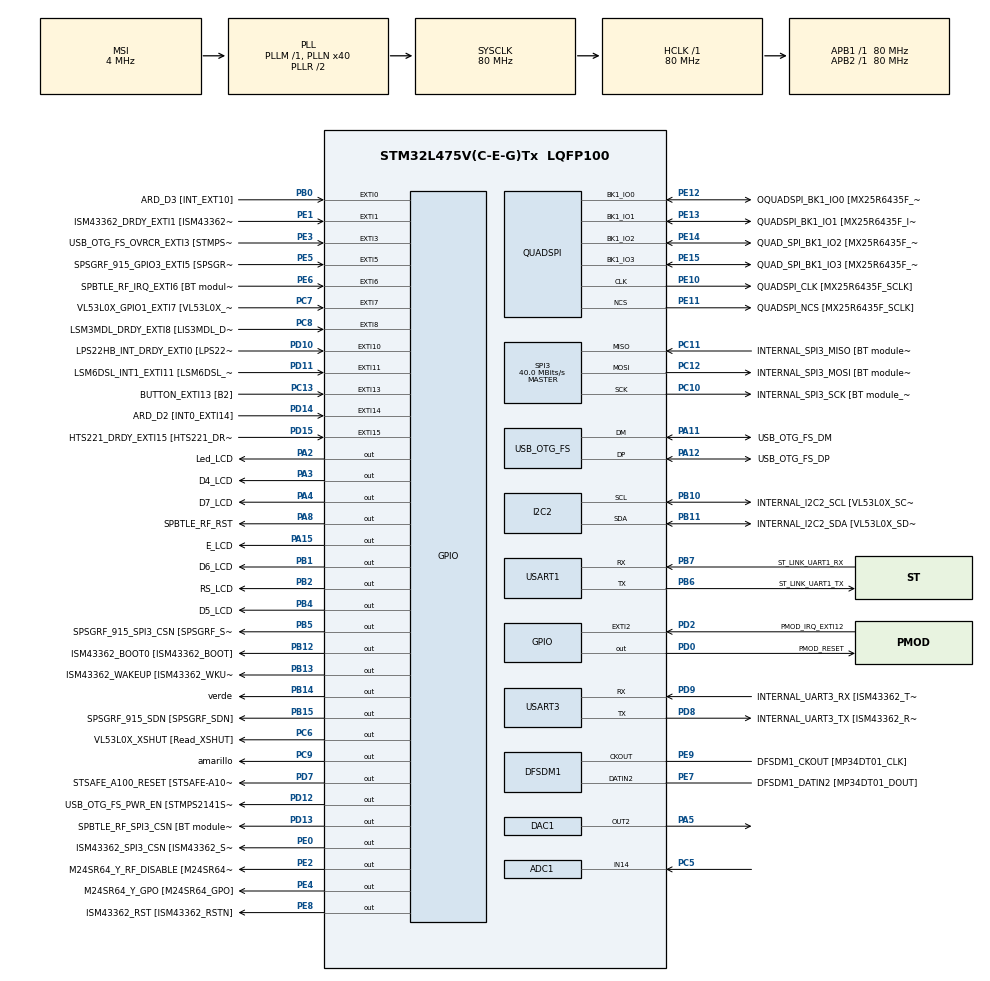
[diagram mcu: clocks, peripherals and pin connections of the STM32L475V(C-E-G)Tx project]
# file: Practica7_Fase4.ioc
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ADC1.Channel-0\#ChannelRegularConversion=ADC_CHANNEL_14
ADC1.NbrOfConversionFlag=1
ADC1.OffsetNumber-0\#ChannelRegularConversion=ADC_OFFSET_NONE
ADC1.Rank-0\#ChannelRegularConversion=1
ADC1.SamplingTime-0\#ChannelRegularConversion=ADC_SAMPLETIME_2CYCLES_5
ADC1.master=1
DAC1.DAC_Channel-DAC_OUT2=DAC_CHANNEL_2
FREERTOS.BinarySemaphores01=AccesoLCD,Dynamic,NULL
FREERTOS.Tasks01=defaultTask,24,128,StartDefaultTask,Default,NULL,Dynamic,NULL,NULL;led_verde,24,128,Start_led_verde,Default,NULL,Dynamic,NULL,NULL;led_amarillo,8,128,Start_led_amarillo,Default,NULL,Dynamic,NULL,NULL;LCDTareaA,8,128,StartLCD_TareaA,Default,NULL,Dynamic,NULL,NULL;LCDtareaB,9,128,StartTareaB,Default,NULL,Dynamic,NULL,NULL
FREERTOS.configTOTAL_HEAP_SIZE=30000
I2C2.Timing=0x10909CEC
Mcu.Family=STM32L4
Mcu.Name=STM32L475V(C-E-G)Tx
Mcu.Package=LQFP100
NVIC.EXTI15_10_IRQn=true\:5\:0\:false\:false\:true\:true\:true\:true\:true
NVIC.EXTI9_5_IRQn=true\:5\:0\:false\:false\:true\:true\:true\:true\:true
NVIC.OTG_FS_IRQn=true\:5\:0\:false\:false\:true\:true\:true\:true\:true
NVIC.PriorityGroup=NVIC_PRIORITYGROUP_4
NVIC.TIM7_IRQn=true\:5\:0\:false\:false\:true\:true\:true\:true\:true
PA0.GPIO_Label=ARD_D1 [UART4_TX]
PA0.Signal=UART4_TX
PA1.GPIO_Label=ARD_D0 [UART4_RX]
PA1.Signal=UART4_RX
PA10.GPIO_Label=USB_OTG_FS_ID
PA10.Signal=USB_OTG_FS_ID
PA11.GPIO_Label=USB_OTG_FS_DM
PA11.Mode=Device_Only
PA11.Signal=USB_OTG_FS_DM
PA12.GPIO_Label=USB_OTG_FS_DP
PA12.Mode=Device_Only
PA12.Signal=USB_OTG_FS_DP
PA13\ (JTMS-SWDIO).GPIO_Label=SYS_JTMS_SWDIO
PA13\ (JTMS-SWDIO).Mode=Serial_Wire
PA13\ (JTMS-SWDIO).Signal=SYS_JTMS-SWDIO
PA14\ (JTCK-SWCLK).GPIO_Label=SYS_JTCK_SWCLK
PA14\ (JTCK-SWCLK).Mode=Serial_Wire
PA14\ (JTCK-SWCLK).Signal=SYS_JTCK-SWCLK
PA15\ (JTDI).GPIO_Label=E_LCD
PA15\ (JTDI).Signal=GPIO_Output
PA2.GPIO_Label=Led_LCD
PA2.Signal=GPIO_Output
PA3.GPIO_Label=D4_LCD
PA3.Signal=GPIO_Output
PA4.GPIO_Label=D7_LCD
PA4.Signal=GPIO_Output
PA5.Signal=COMP_DAC12_group
PA6.GPIO_Label=ARD_D12 [SPI1_MISO]
PA6.Signal=SPI1_MISO
PA7.GPIO_Label=ARD_D11 [SPI1_MOSI]
PA7.Signal=SPI1_MOSI
PA8.GPIO_Label=SPBTLE_RF_RST
PA8.Signal=GPIO_Output
PA9.GPIO_Label=USB_OTG_FS_VBUS [STMPS2141STR_OUT]
PA9.Signal=USB_OTG_FS_VBUS
PB0.GPIO_Label=ARD_D3 [INT_EXT10]
PB0.Signal=GPXTI0
PB1.GPIO_Label=D6_LCD
PB1.Signal=GPIO_Output
PB10.GPIO_Label=INTERNAL_I2C2_SCL [VL53L0X_SCL]
PB10.GPIO_Pu=GPIO_PULLUP
PB10.Mode=I2C
PB10.Signal=I2C2_SCL
PB11.GPIO_Label=INTERNAL_I2C2_SDA [VL53L0X_SDA]
PB11.GPIO_Pu=GPIO_PULLUP
PB11.Mode=I2C
PB11.Signal=I2C2_SDA
PB12.GPIO_Label=ISM43362_BOOT0 [ISM43362_BOOT]
PB12.Signal=GPIO_Output
PB13.GPIO_Label=ISM43362_WAKEUP [ISM43362_WKUP]
PB13.Signal=GPIO_Output
PB14.GPIO_Label=verde
PB14.Signal=GPIO_Output
PB15.GPIO_Label=SPSGRF_915_SDN [SPSGRF_SDN]
PB15.Signal=GPIO_Output
PB2.GPIO_Label=RS_LCD
PB2.Signal=GPIO_Output
PB3\ (JTDO-TRACESWO).GPIO_Label=SYS_JTD0_SWO
PB3\ (JTDO-TRACESWO).Signal=SYS_JTDO-SWO
PB4\ (NJTRST).GPIO_Label=D5_LCD
PB4\ (NJTRST).Signal=GPIO_Output
PB5.GPIO_Label=SPSGRF_915_SPI3_CSN [SPSGRF_SPI_CS]
PB5.PinState=GPIO_PIN_SET
PB5.Signal=GPIO_Output
PB6.GPIO_Label=ST_LINK_UART1_TX
PB6.Mode=Asynchronous
PB6.Signal=USART1_TX
PB7.GPIO_Label=ST_LINK_UART1_RX
PB7.Mode=Asynchronous
PB7.Signal=USART1_RX
PB8.GPIO_Label=ARD_D15 [I2C1_SCL]
PB8.Signal=I2C1_SCL
PB9.GPIO_Label=ARD_D14 [I2C1_SDA]
PB9.Signal=I2C1_SDA
PC0.GPIO_Label=ARD_A5 [ADC]
PC0.Signal=ADCx_IN1
PC1.GPIO_Label=ARD_A4 [ADC]
PC1.Signal=ADCx_IN2
PC10.GPIO_Label=INTERNAL_SPI3_SCK [BT module_SPI_SCLK] [ISM43362_SCK]
PC10.Mode=Full_Duplex_Master
PC10.Signal=SPI3_SCK
PC11.GPIO_Label=INTERNAL_SPI3_MISO [BT module_SPI_MISO] [ISM43362_MISO]
PC11.Mode=Full_Duplex_Master
PC11.Signal=SPI3_MISO
PC12.GPIO_Label=INTERNAL_SPI3_MOSI [BT module_SPI_MOSI] [ISM43362_MOSI]
PC12.Mode=Full_Duplex_Master
PC12.Signal=SPI3_MOSI
PC13.GPIO_Label=BUTTON_EXTI13 [B2]
PC13.GPIO_ModeDefaultEXTI=GPIO_MODE_IT_FALLING
PC13.Signal=GPXTI13
PC14-OSC32_IN\ (PC14).Mode=LSE-External-Oscillator
PC14-OSC32_IN\ (PC14).Signal=RCC_OSC32_IN
PC15-OSC32_OUT\ (PC15).Mode=LSE-External-Oscillator
PC15-OSC32_OUT\ (PC15).Signal=RCC_OSC32_OUT
PC2.GPIO_Label=ARD_A3 [ADC]
PC2.Signal=ADCx_IN3
PC3.GPIO_Label=ARD_A2 [ADC]
PC3.Signal=ADCx_IN4
PC4.GPIO_Label=ARD_A1 [ADC]
PC4.Signal=ADCx_IN13
PC5.Signal=ADCx_IN14
PC6.GPIO_Label=VL53L0X_XSHUT [Read_XSHUT]
PC6.Signal=GPIO_Output
PC7.GPIO_Label=VL53L0X_GPIO1_EXTI7 [VL53L0X_GPIO1]
PC7.Signal=GPXTI7
PC8.GPIO_Label=LSM3MDL_DRDY_EXTI8 [LIS3MDL_DRDY]
PC8.Signal=GPXTI8
PC9.GPIO_Label=amarillo
PC9.Signal=GPIO_Output
PD0.GPIO_Label=PMOD_RESET
PD0.Signal=GPIO_Output
PD1.GPIO_Label=PMOD_SPI2_SCK
PD1.Signal=SPI2_SCK
PD10.GPIO_Label=LPS22HB_INT_DRDY_EXTI0 [LPS22HB_INT_DRDY] 
PD10.Signal=GPXTI10
PD11.GPIO_Label=LSM6DSL_INT1_EXTI11 [LSM6DSL_INT1]
PD11.Signal=GPXTI11
PD12.GPIO_Label=USB_OTG_FS_PWR_EN [STMPS2141STR_EN]
PD12.Signal=GPIO_Output
PD13.GPIO_Label=SPBTLE_RF_SPI3_CSN [BT module_SPI_CS]
PD13.PinState=GPIO_PIN_SET
PD13.Signal=GPIO_Output
PD14.GPIO_Label=ARD_D2 [INT0_EXTI14]
PD14.Signal=GPXTI14
PD15.GPIO_Label=HTS221_DRDY_EXTI15 [HTS221_DRDY]
PD15.Signal=GPXTI15
PD2.GPIO_Label=PMOD_IRQ_EXTI12
PD2.Signal=GPXTI2
PD3.GPIO_Label=PMOD_UART2_CTS
PD3.Signal=USART2_CTS
PD4.GPIO_Label=PMOD_UART2_RTS
PD4.Signal=USART2_RTS
PD5.GPIO_Label=PMOD_UART2_TX
PD5.Signal=USART2_TX
PD6.GPIO_Label=PMOD_UART2_RX
PD6.Signal=USART2_RX
PD7.GPIO_Label=STSAFE_A100_RESET [STSAFE-A100_RESET]
PD7.Signal=GPIO_Output
PD8.GPIO_Label=INTERNAL_UART3_TX [ISM43362_RX]
PD8.Mode=Asynchronous
PD8.Signal=USART3_TX
PD9.GPIO_Label=INTERNAL_UART3_RX [ISM43362_TX]
PD9.Mode=Asynchronous
PD9.Signal=USART3_RX
PE0.GPIO_Label=ISM43362_SPI3_CSN [ISM43362_SSN]
PE0.PinState=GPIO_PIN_SET
PE0.Signal=GPIO_Output
PE1.GPIO_Label=ISM43362_DRDY_EXTI1 [ISM43362_DATARDY]
PE1.Signal=GPXTI1
PE10.GPIO_Label=QUADSPI_CLK [MX25R6435F_SCLK]
PE10.Mode=Single Bank
PE10.Signal=QUADSPI_CLK
PE11.GPIO_Label=QUADSPI_NCS [MX25R6435F_SCLK]
PE11.Mode=Single Bank
PE11.Signal=QUADSPI_NCS
PE12.GPIO_Label=OQUADSPI_BK1_IO0 [MX25R6435F_IO0]
PE12.Mode=Single Bank
PE12.Signal=QUADSPI_BK1_IO0
PE13.GPIO_Label=QUADSPI_BK1_IO1 [MX25R6435F_IO1]
PE13.Mode=Single Bank
PE13.Signal=QUADSPI_BK1_IO1
PE14.GPIO_Label=QUAD_SPI_BK1_IO2 [MX25R6435F_IO2]
PE14.Mode=Single Bank
PE14.Signal=QUADSPI_BK1_IO2
PE15.GPIO_Label=QUAD_SPI_BK1_IO3 [MX25R6435F_IO3]
PE15.Mode=Single Bank
PE15.Signal=QUADSPI_BK1_IO3
PE2.GPIO_Label=M24SR64_Y_RF_DISABLE [M24SR64_RFDIS]
PE2.Signal=GPIO_Output
PE3.GPIO_Label=USB_OTG_FS_OVRCR_EXTI3 [STMPS2141STR_FAULT]
PE3.Signal=GPXTI3
PE4.GPIO_Label=M24SR64_Y_GPO [M24SR64_GPO]
PE4.Signal=GPIO_Output
PE5.GPIO_Label=SPSGRF_915_GPIO3_EXTI5 [SPSGRF_GPIO_3]
PE5.Signal=GPXTI5
PE6.GPIO_Label=SPBTLE_RF_IRQ_EXTI6 [BT module_SPI_IRQ]
PE6.Signal=GPXTI6
PE7.GPIO_Label=DFSDM1_DATIN2 [MP34DT01_DOUT]
PE7.Signal=S_DATAIN2DFSDM1
PE8.GPIO_Label=ISM43362_RST [ISM43362_RSTN]
PE8.Signal=GPIO_Output
PE9.GPIO_Label=DFSDM1_CKOUT [MP34DT01_CLK]
PE9.Signal=S_CKOUTDFSDM1
ProjectManager.HeapSize=0x200
ProjectManager.StackSize=0x400
ProjectManager.TargetToolchain=STM32CubeIDE
QUADSPI.ClockPrescaler=2
QUADSPI.FifoThreshold=4
QUADSPI.FlashSize=23
QUADSPI.SampleShifting=QSPI_SAMPLE_SHIFTING_HALFCYCLE
RCC.ADCFreq_Value=48000000
RCC.AHBFreq_Value=80000000
RCC.APB1Freq_Value=80000000
RCC.APB1TimFreq_Value=80000000
RCC.APB2Freq_Value=80000000
RCC.APB2TimFreq_Value=80000000
RCC.CortexFreq_Value=80000000
RCC.HCLKFreq_Value=80000000
RCC.HSE_VALUE=8000000
RCC.HSI_VALUE=16000000
RCC.MSI_VALUE=4000000
RCC.PLLN=40
RCC.PLLSAI1N=24
RCC.SYSCLKFreq_VALUE=80000000
RCC.SYSCLKSource=RCC_SYSCLKSOURCE_PLLCLK
RCC.USBFreq_Value=48000000
RCC.VCOOutputFreq_Value=160000000
SH.ADCx_IN1.0=ADC1_IN1
SH.ADCx_IN13.0=ADC1_IN13
SH.ADCx_IN14.0=ADC1_IN14,IN14-Single-Ended
SH.ADCx_IN2.0=ADC1_IN2
SH.ADCx_IN3.0=ADC1_IN3
SH.ADCx_IN4.0=ADC1_IN4
SH.COMP_DAC12_group.0=DAC1_OUT2,DAC_OUT2
SH.S_CKOUTDFSDM1.0=DFSDM1_CKOUT,CKOUT
SH.S_CKOUTDFSDM1.1=DFSDM1_CKOUT,PDM_SPI_Input_from_ch12_and_Internal_Clock
SH.S_DATAIN2DFSDM1.0=DFSDM1_DATIN2,PDM_SPI_Input_from_ch12_and_Internal_Clock
SPI3.CalculateBaudRate=40.0 MBits/s
SPI3.Direction=SPI_DIRECTION_2LINES
SPI3.Mode=SPI_MODE_MASTER
SPI3.VirtualType=VM_MASTER
TIM7.Period=3320
USART1.VirtualMode-Asynchronous=VM_ASYNC
USART3.VirtualMode-Asynchronous=VM_ASYNC
USB_DEVICE.CLASS_NAME_FS=AUDIO
USB_DEVICE.USBD_AUDIO_FREQ=24000
USB_DEVICE.VirtualMode=Audio
USB_DEVICE.VirtualModeFS=Audio_FS
USB_OTG_FS.VirtualMode=Device_Only
VP_FREERTOS_VS_CMSIS_V2.Mode=CMSIS_V2
VP_TIM7_VS_ClockSourceINT.Mode=Enable_Timer
VP_USB_DEVICE_VS_USB_DEVICE_AUDIO_FS.Mode=AUDIO_FS
board=B-L475E-IOT01A2

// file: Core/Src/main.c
/* USER CODE BEGIN Header */
/**
 ******************************************************************************
 * @file           : main.c
 * @brief          : Main program body
 ******************************************************************************
 * @attention
 *
 * Copyright (c) 2024 STMicroelectronics.
 * All rights reserved.
 *
 * This software is licensed under terms that can be found in the LICENSE file
 * in the root directory of this software component.
 * If no LICENSE file comes with this software, it is provided AS-IS.
 *
 ******************************************************************************
 */
/* USER CODE END Header */
#include "main.h"
#include <stdio.h>
#include <math.h>
#include "cmsis_os.h"
#include "usb_device.h"

/* USER CODE BEGIN Includes */
#include "hd44780.h"
/* USER CODE END Includes */

ADC_HandleTypeDef hadc1;

DAC_HandleTypeDef hdac1;

DFSDM_Channel_HandleTypeDef hdfsdm1_channel1;

I2C_HandleTypeDef hi2c2;

QSPI_HandleTypeDef hqspi;

SPI_HandleTypeDef hspi3;

TIM_HandleTypeDef htim7;

UART_HandleTypeDef huart1;
UART_HandleTypeDef huart3;

/* Definitions for defaultTask */
osThreadId_t defaultTaskHandle;
const osThreadAttr_t defaultTask_attributes = {
  .name = "defaultTask",
  .stack_size = 128 * 4,
  .priority = (osPriority_t) osPriorityNormal,
};
/* Definitions for led_verde */
osThreadId_t led_verdeHandle;
const osThreadAttr_t led_verde_attributes = {
  .name = "led_verde",
  .stack_size = 128 * 4,
  .priority = (osPriority_t) osPriorityNormal,
};
/* Definitions for led_amarillo */
osThreadId_t led_amarilloHandle;
const osThreadAttr_t led_amarillo_attributes = {
  .name = "led_amarillo",
  .stack_size = 128 * 4,
  .priority = (osPriority_t) osPriorityLow,
};
/* Definitions for LCDTareaA */
osThreadId_t LCDTareaAHandle;
const osThreadAttr_t LCDTareaA_attributes = {
  .name = "LCDTareaA",
  .stack_size = 128 * 4,
  .priority = (osPriority_t) osPriorityLow,
};
/* Definitions for LCDtareaB */
osThreadId_t LCDtareaBHandle;
const osThreadAttr_t LCDtareaB_attributes = {
  .name = "LCDtareaB",
  .stack_size = 128 * 4,
  .priority = (osPriority_t) osPriorityLow,
};
/* Definitions for AccesoLCD */
osSemaphoreId_t AccesoLCDHandle;
const osSemaphoreAttr_t AccesoLCD_attributes = {
  .name = "AccesoLCD"
};
/* USER CODE BEGIN PV */
extern float ganancia;
extern uint8_t efecto;
/* USER CODE END PV */

void SystemClock_Config(void);
void PeriphCommonClock_Config(void);
static void MX_GPIO_Init(void);
static void MX_DFSDM1_Init(void);
static void MX_I2C2_Init(void);
static void MX_QUADSPI_Init(void);
static void MX_SPI3_Init(void);
static void MX_USART1_UART_Init(void);
static void MX_USART3_UART_Init(void);
static void MX_DAC1_Init(void);
static void MX_TIM7_Init(void);
static void MX_ADC1_Init(void);
void StartDefaultTask(void *argument);
void Start_led_verde(void *argument);
void Start_led_amarillo(void *argument);
void StartLCD_TareaA(void *argument);
void StartTareaB(void *argument);

/* USER CODE BEGIN 0 */
uint8_t getButton(uint16_t sample) {
	// uint8_t getButton(uint32_t sample)
	// uint8_t getButton(uint16_t sample)
	//da errores si las declaramos de esta forma
	uint8_t res = 0;
	if (sample == 4095) {
		res = 0;
	} else if (sample >= 700 && sample <= 730) {
		// boton up
		res = 2;
	} else if (sample >= 1618 && sample <= 1660) {
		//boton down
		res = 3;
	} else if (sample >= 2380 && sample <= 2450) {
		// boton left
		res = 4;
	} else if (sample >= 3350 && sample <= 3380) {
		// select 3366
		res = 5;
	} else if (sample >= 0 && sample <= 100) {
		//boton right 000
		res = 1;
	}
	return res;
}
/* USER CODE END 0 */

int main(void)
{

  /* MCU Configuration--------------------------------------------------------*/

  /* Reset of all peripherals, Initializes the Flash interface and the Systick. */
  HAL_Init();

  /* Configure the system clock */
  SystemClock_Config();

/* Configure the peripherals common clocks */
  PeriphCommonClock_Config();

  /* Initialize all configured peripherals */
  MX_GPIO_Init();
  MX_DFSDM1_Init();
  MX_I2C2_Init();
  MX_QUADSPI_Init();
  MX_SPI3_Init();
  MX_USART1_UART_Init();
  MX_USART3_UART_Init();
  MX_DAC1_Init();
  MX_TIM7_Init();
  MX_ADC1_Init();
  /* USER CODE BEGIN 2 */
	HAL_DAC_Start(&hdac1, DAC1_CHANNEL_2);
	HAL_TIM_Base_Start_IT(&htim7);
  /* USER CODE END 2 */

  /* Init scheduler */
  osKernelInitialize();

  /* Create the semaphores(s) */
  /* creation of AccesoLCD */
  AccesoLCDHandle = osSemaphoreNew(1, 1, &AccesoLCD_attributes);

  /* Create the thread(s) */
  /* creation of defaultTask */
  defaultTaskHandle = osThreadNew(StartDefaultTask, NULL, &defaultTask_attributes);

  /* creation of led_verde */
  led_verdeHandle = osThreadNew(Start_led_verde, NULL, &led_verde_attributes);

  /* creation of led_amarillo */
  led_amarilloHandle = osThreadNew(Start_led_amarillo, NULL, &led_amarillo_attributes);

  /* creation of LCDTareaA */
  LCDTareaAHandle = osThreadNew(StartLCD_TareaA, NULL, &LCDTareaA_attributes);

  /* creation of LCDtareaB */
  LCDtareaBHandle = osThreadNew(StartTareaB, NULL, &LCDtareaB_attributes);

  /* Start scheduler */
  osKernelStart();

  /* We should never get here as control is now taken by the scheduler */
  /* Infinite loop */
	while (1) {

	}
}

void SystemClock_Config(void)
{
  RCC_OscInitTypeDef RCC_OscInitStruct = {0};
  RCC_ClkInitTypeDef RCC_ClkInitStruct = {0};

  /** Configure the main internal regulator output voltage
  */
  if (HAL_PWREx_ControlVoltageScaling(PWR_REGULATOR_VOLTAGE_SCALE1) != HAL_OK)
  {
    Error_Handler();
  }

  /** Configure LSE Drive Capability
  */
  HAL_PWR_EnableBkUpAccess();
  __HAL_RCC_LSEDRIVE_CONFIG(RCC_LSEDRIVE_LOW);

  /** Initializes the RCC Oscillators according to the specified parameters
  * in the RCC_OscInitTypeDef structure.
  */
  RCC_OscInitStruct.OscillatorType = RCC_OSCILLATORTYPE_LSE|RCC_OSCILLATORTYPE_MSI;
  RCC_OscInitStruct.LSEState = RCC_LSE_ON;
  RCC_OscInitStruct.MSIState = RCC_MSI_ON;
  RCC_OscInitStruct.MSICalibrationValue = 0;
  RCC_OscInitStruct.MSIClockRange = RCC_MSIRANGE_6;
  RCC_OscInitStruct.PLL.PLLState = RCC_PLL_ON;
  RCC_OscInitStruct.PLL.PLLSource = RCC_PLLSOURCE_MSI;
  RCC_OscInitStruct.PLL.PLLM = 1;
  RCC_OscInitStruct.PLL.PLLN = 40;
  RCC_OscInitStruct.PLL.PLLP = RCC_PLLP_DIV7;
  RCC_OscInitStruct.PLL.PLLQ = RCC_PLLQ_DIV2;
  RCC_OscInitStruct.PLL.PLLR = RCC_PLLR_DIV2;
  if (HAL_RCC_OscConfig(&RCC_OscInitStruct) != HAL_OK)
  {
    Error_Handler();
  }

  /** Initializes the CPU, AHB and APB buses clocks
  */
  RCC_ClkInitStruct.ClockType = RCC_CLOCKTYPE_HCLK|RCC_CLOCKTYPE_SYSCLK
                              |RCC_CLOCKTYPE_PCLK1|RCC_CLOCKTYPE_PCLK2;
  RCC_ClkInitStruct.SYSCLKSource = RCC_SYSCLKSOURCE_PLLCLK;
  RCC_ClkInitStruct.AHBCLKDivider = RCC_SYSCLK_DIV1;
  RCC_ClkInitStruct.APB1CLKDivider = RCC_HCLK_DIV1;
  RCC_ClkInitStruct.APB2CLKDivider = RCC_HCLK_DIV1;

  if (HAL_RCC_ClockConfig(&RCC_ClkInitStruct, FLASH_LATENCY_4) != HAL_OK)
  {
    Error_Handler();
  }

  /** Enable MSI Auto calibration
  */
  HAL_RCCEx_EnableMSIPLLMode();
}

void PeriphCommonClock_Config(void)
{
  RCC_PeriphCLKInitTypeDef PeriphClkInit = {0};

  /** Initializes the peripherals clock
  */
  PeriphClkInit.PeriphClockSelection = RCC_PERIPHCLK_USB|RCC_PERIPHCLK_ADC;
  PeriphClkInit.AdcClockSelection = RCC_ADCCLKSOURCE_PLLSAI1;
  PeriphClkInit.UsbClockSelection = RCC_USBCLKSOURCE_PLLSAI1;
  PeriphClkInit.PLLSAI1.PLLSAI1Source = RCC_PLLSOURCE_MSI;
  PeriphClkInit.PLLSAI1.PLLSAI1M = 1;
  PeriphClkInit.PLLSAI1.PLLSAI1N = 24;
  PeriphClkInit.PLLSAI1.PLLSAI1P = RCC_PLLP_DIV7;
  PeriphClkInit.PLLSAI1.PLLSAI1Q = RCC_PLLQ_DIV2;
  PeriphClkInit.PLLSAI1.PLLSAI1R = RCC_PLLR_DIV2;
  PeriphClkInit.PLLSAI1.PLLSAI1ClockOut = RCC_PLLSAI1_48M2CLK|RCC_PLLSAI1_ADC1CLK;
  if (HAL_RCCEx_PeriphCLKConfig(&PeriphClkInit) != HAL_OK)
  {
    Error_Handler();
  }
}

static void MX_ADC1_Init(void)
{

  ADC_MultiModeTypeDef multimode = {0};
  ADC_ChannelConfTypeDef sConfig = {0};

  /** Common config
  */
  hadc1.Instance = ADC1;
  hadc1.Init.ClockPrescaler = ADC_CLOCK_ASYNC_DIV1;
  hadc1.Init.Resolution = ADC_RESOLUTION_12B;
  hadc1.Init.DataAlign = ADC_DATAALIGN_RIGHT;
  hadc1.Init.ScanConvMode = ADC_SCAN_DISABLE;
  hadc1.Init.EOCSelection = ADC_EOC_SINGLE_CONV;
  hadc1.Init.LowPowerAutoWait = DISABLE;
  hadc1.Init.ContinuousConvMode = DISABLE;
  hadc1.Init.NbrOfConversion = 1;
  hadc1.Init.DiscontinuousConvMode = DISABLE;
  hadc1.Init.ExternalTrigConv = ADC_SOFTWARE_START;
  hadc1.Init.ExternalTrigConvEdge = ADC_EXTERNALTRIGCONVEDGE_NONE;
  hadc1.Init.DMAContinuousRequests = DISABLE;
  hadc1.Init.Overrun = ADC_OVR_DATA_PRESERVED;
  hadc1.Init.OversamplingMode = DISABLE;
  if (HAL_ADC_Init(&hadc1) != HAL_OK)
  {
    Error_Handler();
  }

  /** Configure the ADC multi-mode
  */
  multimode.Mode = ADC_MODE_INDEPENDENT;
  if (HAL_ADCEx_MultiModeConfigChannel(&hadc1, &multimode) != HAL_OK)
  {
    Error_Handler();
  }

  /** Configure Regular Channel
  */
  sConfig.Channel = ADC_CHANNEL_14;
  sConfig.Rank = ADC_REGULAR_RANK_1;
  sConfig.SamplingTime = ADC_SAMPLETIME_2CYCLES_5;
  sConfig.SingleDiff = ADC_SINGLE_ENDED;
  sConfig.OffsetNumber = ADC_OFFSET_NONE;
  sConfig.Offset = 0;
  if (HAL_ADC_ConfigChannel(&hadc1, &sConfig) != HAL_OK)
  {
    Error_Handler();
  }

}

static void MX_DAC1_Init(void)
{

  DAC_ChannelConfTypeDef sConfig = {0};

  /** DAC Initialization
  */
  hdac1.Instance = DAC1;
  if (HAL_DAC_Init(&hdac1) != HAL_OK)
  {
    Error_Handler();
  }

  /** DAC channel OUT2 config
  */
  sConfig.DAC_SampleAndHold = DAC_SAMPLEANDHOLD_DISABLE;
  sConfig.DAC_Trigger = DAC_TRIGGER_NONE;
  sConfig.DAC_OutputBuffer = DAC_OUTPUTBUFFER_ENABLE;
  sConfig.DAC_ConnectOnChipPeripheral = DAC_CHIPCONNECT_DISABLE;
  sConfig.DAC_UserTrimming = DAC_TRIMMING_FACTORY;
  if (HAL_DAC_ConfigChannel(&hdac1, &sConfig, DAC_CHANNEL_2) != HAL_OK)
  {
    Error_Handler();
  }

}

static void MX_DFSDM1_Init(void)
{

  hdfsdm1_channel1.Instance = DFSDM1_Channel1;
  hdfsdm1_channel1.Init.OutputClock.Activation = ENABLE;
  hdfsdm1_channel1.Init.OutputClock.Selection = DFSDM_CHANNEL_OUTPUT_CLOCK_SYSTEM;
  hdfsdm1_channel1.Init.OutputClock.Divider = 2;
  hdfsdm1_channel1.Init.Input.Multiplexer = DFSDM_CHANNEL_EXTERNAL_INPUTS;
  hdfsdm1_channel1.Init.Input.DataPacking = DFSDM_CHANNEL_STANDARD_MODE;
  hdfsdm1_channel1.Init.Input.Pins = DFSDM_CHANNEL_FOLLOWING_CHANNEL_PINS;
  hdfsdm1_channel1.Init.SerialInterface.Type = DFSDM_CHANNEL_SPI_RISING;
  hdfsdm1_channel1.Init.SerialInterface.SpiClock = DFSDM_CHANNEL_SPI_CLOCK_INTERNAL;
  hdfsdm1_channel1.Init.Awd.FilterOrder = DFSDM_CHANNEL_FASTSINC_ORDER;
  hdfsdm1_channel1.Init.Awd.Oversampling = 1;
  hdfsdm1_channel1.Init.Offset = 0;
  hdfsdm1_channel1.Init.RightBitShift = 0x00;
  if (HAL_DFSDM_ChannelInit(&hdfsdm1_channel1) != HAL_OK)
  {
    Error_Handler();
  }

}

static void MX_I2C2_Init(void)
{

  hi2c2.Instance = I2C2;
  hi2c2.Init.Timing = 0x10909CEC;
  hi2c2.Init.OwnAddress1 = 0;
  hi2c2.Init.AddressingMode = I2C_ADDRESSINGMODE_7BIT;
  hi2c2.Init.DualAddressMode = I2C_DUALADDRESS_DISABLE;
  hi2c2.Init.OwnAddress2 = 0;
  hi2c2.Init.OwnAddress2Masks = I2C_OA2_NOMASK;
  hi2c2.Init.GeneralCallMode = I2C_GENERALCALL_DISABLE;
  hi2c2.Init.NoStretchMode = I2C_NOSTRETCH_DISABLE;
  if (HAL_I2C_Init(&hi2c2) != HAL_OK)
  {
    Error_Handler();
  }

  /** Configure Analogue filter
  */
  if (HAL_I2CEx_ConfigAnalogFilter(&hi2c2, I2C_ANALOGFILTER_ENABLE) != HAL_OK)
  {
    Error_Handler();
  }

  /** Configure Digital filter
  */
  if (HAL_I2CEx_ConfigDigitalFilter(&hi2c2, 0) != HAL_OK)
  {
    Error_Handler();
  }

}

static void MX_QUADSPI_Init(void)
{

  /* QUADSPI parameter configuration*/
  hqspi.Instance = QUADSPI;
  hqspi.Init.ClockPrescaler = 2;
  hqspi.Init.FifoThreshold = 4;
  hqspi.Init.SampleShifting = QSPI_SAMPLE_SHIFTING_HALFCYCLE;
  hqspi.Init.FlashSize = 23;
  hqspi.Init.ChipSelectHighTime = QSPI_CS_HIGH_TIME_1_CYCLE;
  hqspi.Init.ClockMode = QSPI_CLOCK_MODE_0;
  if (HAL_QSPI_Init(&hqspi) != HAL_OK)
  {
    Error_Handler();
  }

}

static void MX_SPI3_Init(void)
{

  /* SPI3 parameter configuration*/
  hspi3.Instance = SPI3;
  hspi3.Init.Mode = SPI_MODE_MASTER;
  hspi3.Init.Direction = SPI_DIRECTION_2LINES;
  hspi3.Init.DataSize = SPI_DATASIZE_4BIT;
  hspi3.Init.CLKPolarity = SPI_POLARITY_LOW;
  hspi3.Init.CLKPhase = SPI_PHASE_1EDGE;
  hspi3.Init.NSS = SPI_NSS_SOFT;
  hspi3.Init.BaudRatePrescaler = SPI_BAUDRATEPRESCALER_2;
  hspi3.Init.FirstBit = SPI_FIRSTBIT_MSB;
  hspi3.Init.TIMode = SPI_TIMODE_DISABLE;
  hspi3.Init.CRCCalculation = SPI_CRCCALCULATION_DISABLE;
  hspi3.Init.CRCPolynomial = 7;
  hspi3.Init.CRCLength = SPI_CRC_LENGTH_DATASIZE;
  hspi3.Init.NSSPMode = SPI_NSS_PULSE_ENABLE;
  if (HAL_SPI_Init(&hspi3) != HAL_OK)
  {
    Error_Handler();
  }

}

static void MX_TIM7_Init(void)
{

  TIM_MasterConfigTypeDef sMasterConfig = {0};

  htim7.Instance = TIM7;
  htim7.Init.Prescaler = 0;
  htim7.Init.CounterMode = TIM_COUNTERMODE_UP;
  htim7.Init.Period = 3320;
  htim7.Init.AutoReloadPreload = TIM_AUTORELOAD_PRELOAD_DISABLE;
  if (HAL_TIM_Base_Init(&htim7) != HAL_OK)
  {
    Error_Handler();
  }
  sMasterConfig.MasterOutputTrigger = TIM_TRGO_RESET;
  sMasterConfig.MasterSlaveMode = TIM_MASTERSLAVEMODE_DISABLE;
  if (HAL_TIMEx_MasterConfigSynchronization(&htim7, &sMasterConfig) != HAL_OK)
  {
    Error_Handler();
  }

}

static void MX_USART1_UART_Init(void)
{

  huart1.Instance = USART1;
  huart1.Init.BaudRate = 115200;
  huart1.Init.WordLength = UART_WORDLENGTH_8B;
  huart1.Init.StopBits = UART_STOPBITS_1;
  huart1.Init.Parity = UART_PARITY_NONE;
  huart1.Init.Mode = UART_MODE_TX_RX;
  huart1.Init.HwFlowCtl = UART_HWCONTROL_NONE;
  huart1.Init.OverSampling = UART_OVERSAMPLING_16;
  huart1.Init.OneBitSampling = UART_ONE_BIT_SAMPLE_DISABLE;
  huart1.AdvancedInit.AdvFeatureInit = UART_ADVFEATURE_NO_INIT;
  if (HAL_UART_Init(&huart1) != HAL_OK)
  {
    Error_Handler();
  }

}

static void MX_USART3_UART_Init(void)
{

  huart3.Instance = USART3;
  huart3.Init.BaudRate = 115200;
  huart3.Init.WordLength = UART_WORDLENGTH_8B;
  huart3.Init.StopBits = UART_STOPBITS_1;
  huart3.Init.Parity = UART_PARITY_NONE;
  huart3.Init.Mode = UART_MODE_TX_RX;
  huart3.Init.HwFlowCtl = UART_HWCONTROL_NONE;
  huart3.Init.OverSampling = UART_OVERSAMPLING_16;
  huart3.Init.OneBitSampling = UART_ONE_BIT_SAMPLE_DISABLE;
  huart3.AdvancedInit.AdvFeatureInit = UART_ADVFEATURE_NO_INIT;
  if (HAL_UART_Init(&huart3) != HAL_OK)
  {
    Error_Handler();
  }

}

static void MX_GPIO_Init(void)
{
  GPIO_InitTypeDef GPIO_InitStruct = {0};

  /* GPIO Ports Clock Enable */
  __HAL_RCC_GPIOE_CLK_ENABLE();
  __HAL_RCC_GPIOC_CLK_ENABLE();
  __HAL_RCC_GPIOA_CLK_ENABLE();
  __HAL_RCC_GPIOB_CLK_ENABLE();
  __HAL_RCC_GPIOD_CLK_ENABLE();

  /*Configure GPIO pin Output Level */
  HAL_GPIO_WritePin(GPIOE, M24SR64_Y_RF_DISABLE_Pin|M24SR64_Y_GPO_Pin|ISM43362_RST_Pin, GPIO_PIN_RESET);

  /*Configure GPIO pin Output Level */
  HAL_GPIO_WritePin(GPIOA, Led_LCD_Pin|D4_LCD_Pin|D7_LCD_Pin|SPBTLE_RF_RST_Pin
                          |E_LCD_Pin, GPIO_PIN_RESET);

  /*Configure GPIO pin Output Level */
  HAL_GPIO_WritePin(GPIOB, D6_LCD_Pin|RS_LCD_Pin|ISM43362_BOOT0_Pin|ISM43362_WAKEUP_Pin
                          |verde_Pin|SPSGRF_915_SDN_Pin|D5_LCD_Pin, GPIO_PIN_RESET);

  /*Configure GPIO pin Output Level */
  HAL_GPIO_WritePin(GPIOD, USB_OTG_FS_PWR_EN_Pin|PMOD_RESET_Pin|STSAFE_A100_RESET_Pin, GPIO_PIN_RESET);

  /*Configure GPIO pin Output Level */
  HAL_GPIO_WritePin(SPBTLE_RF_SPI3_CSN_GPIO_Port, SPBTLE_RF_SPI3_CSN_Pin, GPIO_PIN_SET);

  /*Configure GPIO pin Output Level */
  HAL_GPIO_WritePin(GPIOC, VL53L0X_XSHUT_Pin|amarillo_Pin, GPIO_PIN_RESET);

  /*Configure GPIO pin Output Level */
  HAL_GPIO_WritePin(SPSGRF_915_SPI3_CSN_GPIO_Port, SPSGRF_915_SPI3_CSN_Pin, GPIO_PIN_SET);

  /*Configure GPIO pin Output Level */
  HAL_GPIO_WritePin(ISM43362_SPI3_CSN_GPIO_Port, ISM43362_SPI3_CSN_Pin, GPIO_PIN_SET);

  /*Configure GPIO pins : M24SR64_Y_RF_DISABLE_Pin M24SR64_Y_GPO_Pin ISM43362_RST_Pin ISM43362_SPI3_CSN_Pin */
  GPIO_InitStruct.Pin = M24SR64_Y_RF_DISABLE_Pin|M24SR64_Y_GPO_Pin|ISM43362_RST_Pin|ISM43362_SPI3_CSN_Pin;
  GPIO_InitStruct.Mode = GPIO_MODE_OUTPUT_PP;
  GPIO_InitStruct.Pull = GPIO_NOPULL;
  GPIO_InitStruct.Speed = GPIO_SPEED_FREQ_LOW;
  HAL_GPIO_Init(GPIOE, &GPIO_InitStruct);

  /*Configure GPIO pins : USB_OTG_FS_OVRCR_EXTI3_Pin SPSGRF_915_GPIO3_EXTI5_Pin SPBTLE_RF_IRQ_EXTI6_Pin ISM43362_DRDY_EXTI1_Pin */
  GPIO_InitStruct.Pin = USB_OTG_FS_OVRCR_EXTI3_Pin|SPSGRF_915_GPIO3_EXTI5_Pin|SPBTLE_RF_IRQ_EXTI6_Pin|ISM43362_DRDY_EXTI1_Pin;
  GPIO_InitStruct.Mode = GPIO_MODE_IT_RISING;
  GPIO_InitStruct.Pull = GPIO_NOPULL;
  HAL_GPIO_Init(GPIOE, &GPIO_InitStruct);

  /*Configure GPIO pin : BUTTON_EXTI13_Pin */
  GPIO_InitStruct.Pin = BUTTON_EXTI13_Pin;
  GPIO_InitStruct.Mode = GPIO_MODE_IT_FALLING;
  GPIO_InitStruct.Pull = GPIO_NOPULL;
  HAL_GPIO_Init(BUTTON_EXTI13_GPIO_Port, &GPIO_InitStruct);

  /*Configure GPIO pins : ARD_D1_Pin ARD_D0_Pin */
  GPIO_InitStruct.Pin = ARD_D1_Pin|ARD_D0_Pin;
  GPIO_InitStruct.Mode = GPIO_MODE_AF_PP;
  GPIO_InitStruct.Pull = GPIO_NOPULL;
  GPIO_InitStruct.Speed = GPIO_SPEED_FREQ_VERY_HIGH;
  GPIO_InitStruct.Alternate = GPIO_AF8_UART4;
  HAL_GPIO_Init(GPIOA, &GPIO_InitStruct);

  /*Configure GPIO pins : Led_LCD_Pin D4_LCD_Pin D7_LCD_Pin SPBTLE_RF_RST_Pin
                           E_LCD_Pin */
  GPIO_InitStruct.Pin = Led_LCD_Pin|D4_LCD_Pin|D7_LCD_Pin|SPBTLE_RF_RST_Pin
                          |E_LCD_Pin;
  GPIO_InitStruct.Mode = GPIO_MODE_OUTPUT_PP;
  GPIO_InitStruct.Pull = GPIO_NOPULL;
  GPIO_InitStruct.Speed = GPIO_SPEED_FREQ_LOW;
  HAL_GPIO_Init(GPIOA, &GPIO_InitStruct);

  /*Configure GPIO pins : ARD_D12_Pin ARD_D11_Pin */
  GPIO_InitStruct.Pin = ARD_D12_Pin|ARD_D11_Pin;
  GPIO_InitStruct.Mode = GPIO_MODE_AF_PP;
  GPIO_InitStruct.Pull = GPIO_NOPULL;
  GPIO_InitStruct.Speed = GPIO_SPEED_FREQ_VERY_HIGH;
  GPIO_InitStruct.Alternate = GPIO_AF5_SPI1;
  HAL_GPIO_Init(GPIOA, &GPIO_InitStruct);

  /*Configure GPIO pin : ARD_D3_Pin */
  GPIO_InitStruct.Pin = ARD_D3_Pin;
  GPIO_InitStruct.Mode = GPIO_MODE_IT_RISING;
  GPIO_InitStruct.Pull = GPIO_NOPULL;
  HAL_GPIO_Init(ARD_D3_GPIO_Port, &GPIO_InitStruct);

  /*Configure GPIO pins : D6_LCD_Pin RS_LCD_Pin ISM43362_BOOT0_Pin ISM43362_WAKEUP_Pin
                           verde_Pin SPSGRF_915_SDN_Pin D5_LCD_Pin SPSGRF_915_SPI3_CSN_Pin */
  GPIO_InitStruct.Pin = D6_LCD_Pin|RS_LCD_Pin|ISM43362_BOOT0_Pin|ISM43362_WAKEUP_Pin
                          |verde_Pin|SPSGRF_915_SDN_Pin|D5_LCD_Pin|SPSGRF_915_SPI3_CSN_Pin;
  GPIO_InitStruct.Mode = GPIO_MODE_OUTPUT_PP;
  GPIO_InitStruct.Pull = GPIO_NOPULL;
  GPIO_InitStruct.Speed = GPIO_SPEED_FREQ_LOW;
  HAL_GPIO_Init(GPIOB, &GPIO_InitStruct);

  /*Configure GPIO pins : LPS22HB_INT_DRDY_EXTI0_Pin LSM6DSL_INT1_EXTI11_Pin ARD_D2_Pin HTS221_DRDY_EXTI15_Pin
                           PMOD_IRQ_EXTI12_Pin */
  GPIO_InitStruct.Pin = LPS22HB_INT_DRDY_EXTI0_Pin|LSM6DSL_INT1_EXTI11_Pin|ARD_D2_Pin|HTS221_DRDY_EXTI15_Pin
                          |PMOD_IRQ_EXTI12_Pin;
  GPIO_InitStruct.Mode = GPIO_MODE_IT_RISING;
  GPIO_InitStruct.Pull = GPIO_NOPULL;
  HAL_GPIO_Init(GPIOD, &GPIO_InitStruct);

  /*Configure GPIO pins : USB_OTG_FS_PWR_EN_Pin SPBTLE_RF_SPI3_CSN_Pin PMOD_RESET_Pin STSAFE_A100_RESET_Pin */
  GPIO_InitStruct.Pin = USB_OTG_FS_PWR_EN_Pin|SPBTLE_RF_SPI3_CSN_Pin|PMOD_RESET_Pin|STSAFE_A100_RESET_Pin;
  GPIO_InitStruct.Mode = GPIO_MODE_OUTPUT_PP;
  GPIO_InitStruct.Pull = GPIO_NOPULL;
  GPIO_InitStruct.Speed = GPIO_SPEED_FREQ_LOW;
  HAL_GPIO_Init(GPIOD, &GPIO_InitStruct);

  /*Configure GPIO pins : VL53L0X_XSHUT_Pin amarillo_Pin */
  GPIO_InitStruct.Pin = VL53L0X_XSHUT_Pin|amarillo_Pin;
  GPIO_InitStruct.Mode = GPIO_MODE_OUTPUT_PP;
  GPIO_InitStruct.Pull = GPIO_NOPULL;
  GPIO_InitStruct.Speed = GPIO_SPEED_FREQ_LOW;
  HAL_GPIO_Init(GPIOC, &GPIO_InitStruct);

  /*Configure GPIO pins : VL53L0X_GPIO1_EXTI7_Pin LSM3MDL_DRDY_EXTI8_Pin */
  GPIO_InitStruct.Pin = VL53L0X_GPIO1_EXTI7_Pin|LSM3MDL_DRDY_EXTI8_Pin;
  GPIO_InitStruct.Mode = GPIO_MODE_IT_RISING;
  GPIO_InitStruct.Pull = GPIO_NOPULL;
  HAL_GPIO_Init(GPIOC, &GPIO_InitStruct);

  /*Configure GPIO pin : PMOD_SPI2_SCK_Pin */
  GPIO_InitStruct.Pin = PMOD_SPI2_SCK_Pin;
  GPIO_InitStruct.Mode = GPIO_MODE_AF_PP;
  GPIO_InitStruct.Pull = GPIO_NOPULL;
  GPIO_InitStruct.Speed = GPIO_SPEED_FREQ_VERY_HIGH;
  GPIO_InitStruct.Alternate = GPIO_AF5_SPI2;
  HAL_GPIO_Init(PMOD_SPI2_SCK_GPIO_Port, &GPIO_InitStruct);

  /*Configure GPIO pins : PMOD_UART2_CTS_Pin PMOD_UART2_RTS_Pin PMOD_UART2_TX_Pin PMOD_UART2_RX_Pin */
  GPIO_InitStruct.Pin = PMOD_UART2_CTS_Pin|PMOD_UART2_RTS_Pin|PMOD_UART2_TX_Pin|PMOD_UART2_RX_Pin;
  GPIO_InitStruct.Mode = GPIO_MODE_AF_PP;
  GPIO_InitStruct.Pull = GPIO_NOPULL;
  GPIO_InitStruct.Speed = GPIO_SPEED_FREQ_VERY_HIGH;
  GPIO_InitStruct.Alternate = GPIO_AF7_USART2;
  HAL_GPIO_Init(GPIOD, &GPIO_InitStruct);

  /*Configure GPIO pins : ARD_D15_Pin ARD_D14_Pin */
  GPIO_InitStruct.Pin = ARD_D15_Pin|ARD_D14_Pin;
  GPIO_InitStruct.Mode = GPIO_MODE_AF_OD;
  GPIO_InitStruct.Pull = GPIO_NOPULL;
  GPIO_InitStruct.Speed = GPIO_SPEED_FREQ_VERY_HIGH;
  GPIO_InitStruct.Alternate = GPIO_AF4_I2C1;
  HAL_GPIO_Init(GPIOB, &GPIO_InitStruct);

  /* EXTI interrupt init*/
  HAL_NVIC_SetPriority(EXTI9_5_IRQn, 5, 0);
  HAL_NVIC_EnableIRQ(EXTI9_5_IRQn);

  HAL_NVIC_SetPriority(EXTI15_10_IRQn, 5, 0);
  HAL_NVIC_EnableIRQ(EXTI15_10_IRQn);

}

void StartDefaultTask(void *argument)
{
  /* init code for USB_DEVICE */
  MX_USB_DEVICE_Init();
	for (;;) {
		osDelay(1);
	}
}

void Start_led_verde(void *argument)
{
  /* USER CODE BEGIN Start_led_verde */
	/* Infinite loop */
	for (;;) {
		HAL_GPIO_WritePin(verde_GPIO_Port, verde_Pin, 1);
		osDelay(300);
		HAL_GPIO_WritePin(verde_GPIO_Port, verde_Pin, 0);
		osDelay(300);
	}
  /* USER CODE END Start_led_verde */
}

void Start_led_amarillo(void *argument)
{
  /* USER CODE BEGIN Start_led_amarillo */
	/* Infinite loop */
	for (;;) {
		HAL_GPIO_WritePin(amarillo_GPIO_Port, amarillo_Pin, 1);
		osDelay(300);
		HAL_GPIO_WritePin(amarillo_GPIO_Port, amarillo_Pin, 0);
		osDelay(300);
	}
  /* USER CODE END Start_led_amarillo */
}

void StartLCD_TareaA(void *argument)
{
  /* USER CODE BEGIN StartLCD_TareaA */
	/* Infinite loop */
	lcd_reset();
	lcd_display_settings(1, 0, 0);
	lcd_clear();
	char str[10];

	for (;;) {
		osSemaphoreAcquire(AccesoLCDHandle, 0xFFFFFFF);
		//le damos un time out enorme
		//leemos la botonera y ponemos el boton
		  HAL_ADC_Start(&hadc1);
		  // 2- Esperar a que esté disponible
		  HAL_ADC_PollForConversion(&hadc1, 100);
		  // 3- Leer muestra del registro de datos
		  uint32_t sample =  HAL_ADC_GetValue(&hadc1);
		  // modicamos gnancia up down
		  moveToXY(0, 0);
		  if(getButton(sample)==2){
			  ganancia=ganancia+0.1;

		  }else if(getButton(sample)==3){
			  ganancia=ganancia-0.1;
		  }
		  sprintf(str,"G: %.1f",ganancia);
		  lcd_print(str);

		  // 4-PResentar valores

		//  lcd_print(str);

		osSemaphoreRelease(AccesoLCDHandle);

		osDelay(200);
	}
  /* USER CODE END StartLCD_TareaA */
}

void StartTareaB(void *argument)
{
  /* USER CODE BEGIN StartTareaB */
	/* Infinite loop */
	//esta se supone que la debemos retrasar un poco
	//int contador2 = 0;
	osDelay(25);
//uint32_t tickB;
//tickB = osKernelGetTickCount();
	for (;;) {  // tickB+=100;
				//osDelayUntil(tickB);

		osSemaphoreAcquire(AccesoLCDHandle, 0xFFFFFFF);
	//lectura de la ganancia
		  HAL_ADC_Start(&hadc1);
		  // 2- Esperar a que esté disponible
		  HAL_ADC_PollForConversion(&hadc1, 100);
		  // 3- Leer muestra del registro de datos
		  uint32_t sample =  HAL_ADC_GetValue(&hadc1);
		  if(getButton(sample)==4){
			  efecto++;
		  }else if(getButton(sample)==1){
			  efecto--;
		  }

		  moveToXY(1, 0);
		  lcd_print("Efecto");
		  writeIntegerToLCD(efecto);
		osSemaphoreRelease(AccesoLCDHandle);
		osDelay(200);

	}
  /* USER CODE END StartTareaB */
}

void Error_Handler(void)
{
	__disable_irq();
	while (1) {
	}
}
